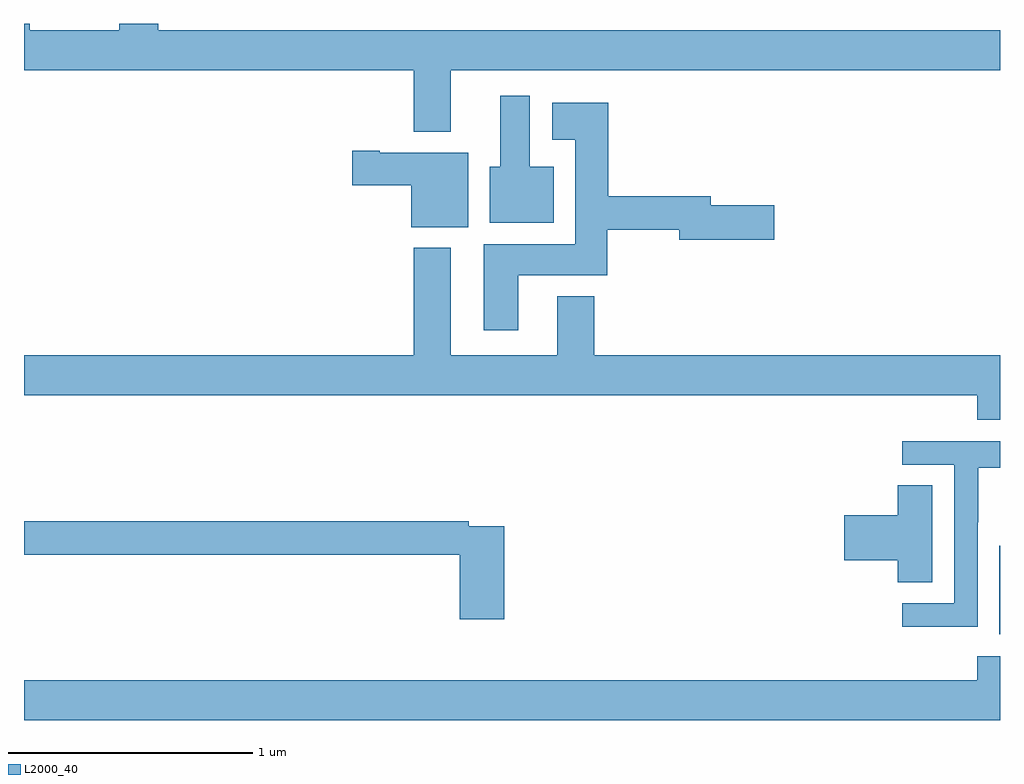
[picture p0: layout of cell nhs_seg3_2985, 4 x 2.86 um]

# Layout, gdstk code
import gdstk
lib = gdstk.Library(unit=1e-6, precision=1e-09)
def R(c, l, rs):  # rectangles x0, y0, x1, y1
    for r in rs: c.add(gdstk.rectangle(r[:2], r[2:], *l))
def P(c, l, *ps):  # polygons
    for p in ps: c.add(gdstk.Polygon(p, *l))
L2000_40 = (2000, 40)

nhs_seg3_2985 = lib.new_cell('nhs_seg3_2985')
R(nhs_seg3_2985, L2000_40, [(268.997,739.898,269,740.259)])
P(nhs_seg3_2985, L2000_40, [(266.749,742.208),(269,742.208),(269,742.372),(265.55,742.372),(265.55,742.4),(265.39,742.4),(265.39,742.372),(265.023,742.372),(265.023,742.4),(265,742.4),(265,742.208),(266.597,742.208),(266.597,741.956),(266.749,741.956)],
  [(267.172,741.814),(267.073,741.814),(267.073,742.105),(266.951,742.105),(266.951,741.814),(266.909,741.814),(266.909,741.584),(267.172,741.584)],
  [(267.025,741.368),(267.39,741.368),(267.39,741.556),(267.686,741.556),(267.686,741.514),(268.075,741.514),(268.075,741.656),(267.814,741.656),(267.814,741.692),(267.395,741.692),(267.395,742.075),(267.165,742.075),(267.165,741.923),(267.26,741.923),(267.26,741.496),(266.885,741.496),(266.885,741.144),(267.025,741.144)],
  [(266.821,741.871),(266.458,741.871),(266.458,741.879),(266.346,741.879),(266.346,741.737),(266.588,741.737),(266.588,741.566),(266.821,741.566)],
  [(269,741.04),(267.338,741.04),(267.338,741.283),(267.185,741.283),(267.185,741.04),(266.749,741.04),(266.749,741.481),(266.597,741.481),(266.597,741.04),(265,741.04),(265,740.876),(268.907,740.876),(268.907,740.777),(269,740.777)],
  [(268.908,740.356),(268.911,740.356),(268.911,740.58),(269,740.58),(269,740.688),(268.599,740.688),(268.599,740.592),(268.812,740.592),(268.812,740.025),(268.599,740.025),(268.599,739.927),(268.908,739.927)],
  [(268.723,740.507),(268.58,740.507),(268.58,740.384),(268.362,740.384),(268.362,740.201),(268.58,740.201),(268.58,740.11),(268.723,740.11)],
  [(266.969,740.34),(266.822,740.34),(266.822,740.36),(265,740.36),(265,740.224),(266.786,740.224),(266.786,739.959),(266.969,739.959)],
  [(269,739.807),(268.907,739.807),(268.907,739.708),(265,739.708),(265,739.544),(269,739.544)])

lib.write_gds('nhs_seg3_2985.gds')
